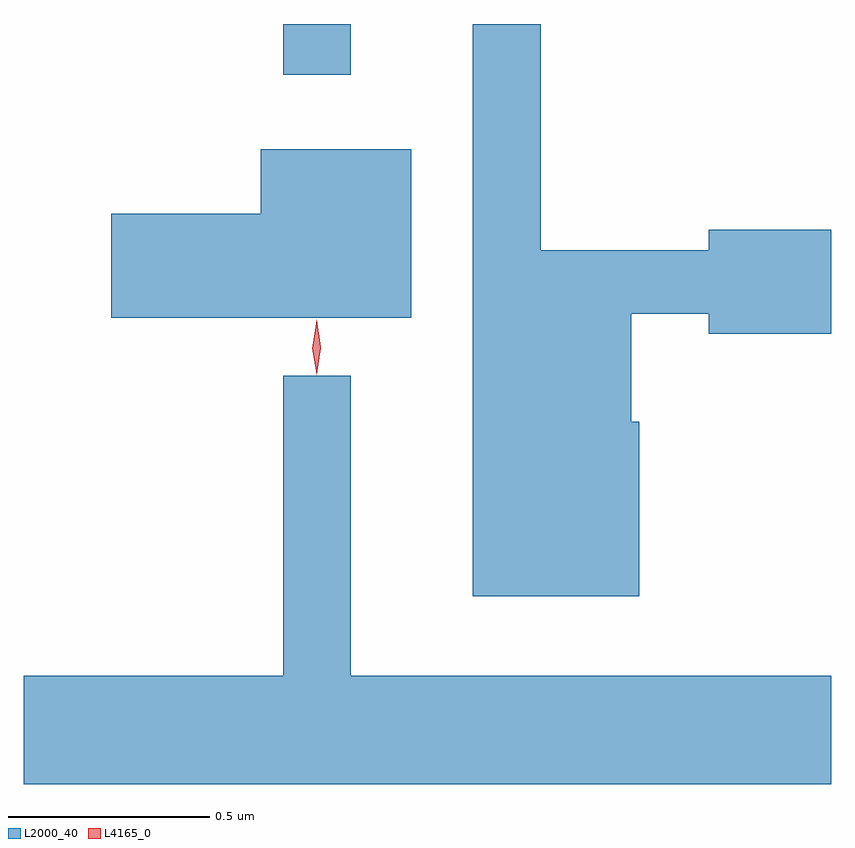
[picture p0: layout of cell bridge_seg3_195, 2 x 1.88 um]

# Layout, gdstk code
import gdstk
lib = gdstk.Library(unit=1e-6, precision=1e-09)
def R(c, l, rs):  # rectangles x0, y0, x1, y1
    for r in rs: c.add(gdstk.rectangle(r[:2], r[2:], *l))
def P(c, l, *ps):  # polygons
    for p in ps: c.add(gdstk.Polygon(p, *l))
L2000_40 = (2000, 40)
L4165_0 = (4165, 0)

bridge_seg3_195 = lib.new_cell('bridge_seg3_195')
R(bridge_seg3_195, L2000_40, [(878.761,1138.873,878.929,1138.999)])
P(bridge_seg3_195, L2000_40, [(879.644,1138.014),(879.624,1138.014),(879.624,1138.281),(879.816,1138.281),(879.816,1138.231),(880.119,1138.231),(880.119,1138.489),(879.816,1138.489),(879.816,1138.439),(879.399,1138.439),(879.399,1138.999),(879.231,1138.999),(879.231,1137.581),(879.644,1137.581)],
  [(879.079,1138.689),(878.706,1138.689),(878.706,1138.529),(878.336,1138.529),(878.336,1138.271),(879.079,1138.271)],
  [(880.119,1137.384),(878.929,1137.384),(878.929,1138.128),(878.761,1138.128),(878.761,1137.384),(878.119,1137.384),(878.119,1137.116),(880.119,1137.116)])
P(bridge_seg3_195, L4165_0, [(878.844,1138.13),(878.835,1138.198),(878.844,1138.266),(878.844,1138.266),(878.845,1138.266),(878.855,1138.198),(878.845,1138.13),(878.845,1138.13)],
  [(878.844,1138.133),(878.834,1138.196),(878.844,1138.26),(878.844,1138.26),(878.845,1138.26),(878.854,1138.196),(878.845,1138.133),(878.845,1138.133)])

lib.write_gds('bridge_seg3_195.gds')
